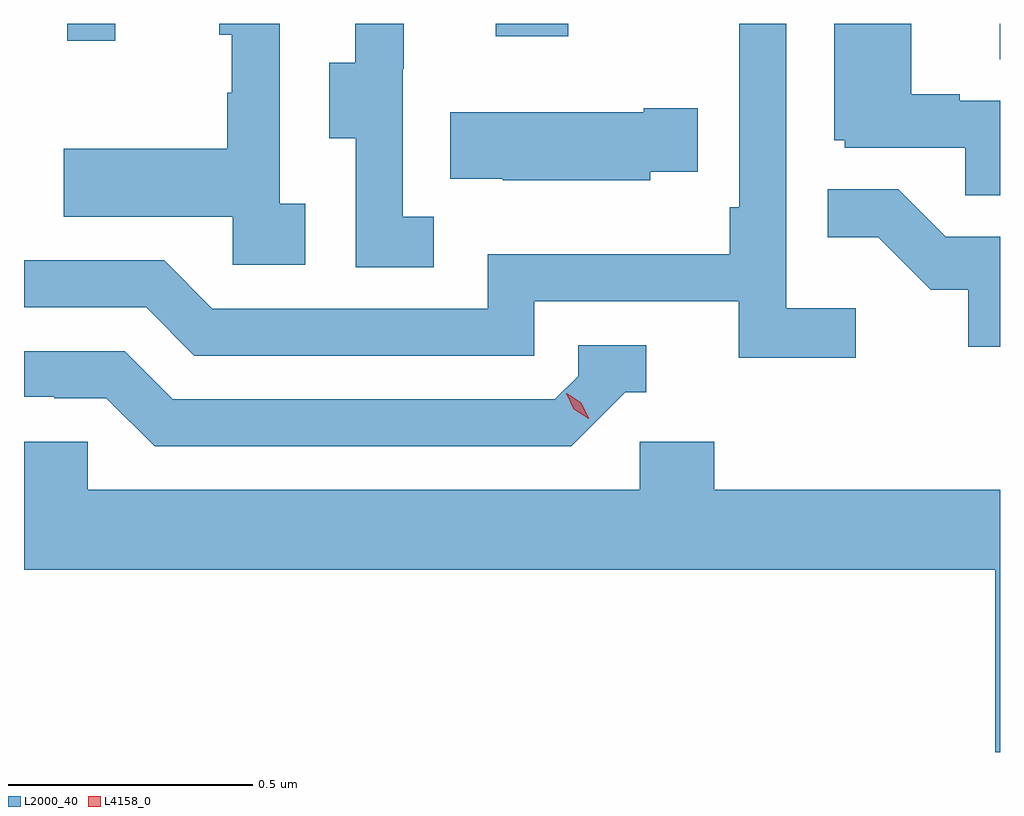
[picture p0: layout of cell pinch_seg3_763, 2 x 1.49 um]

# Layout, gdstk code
import gdstk
lib = gdstk.Library(unit=1e-6, precision=1e-09)
def R(c, l, rs):  # rectangles x0, y0, x1, y1
    for r in rs: c.add(gdstk.rectangle(r[:2], r[2:], *l))
def P(c, l, *ps):  # polygons
    for p in ps: c.add(gdstk.Polygon(p, *l))
L2000_40 = (2000, 40)
L4158_0 = (4158, 0)

pinch_seg3_763 = lib.new_cell('pinch_seg3_763')
R(pinch_seg3_763, L2000_40, [(848.333,733.93,848.334,734.003), (846.423,733.968,846.521,734.003), (847.301,733.977,847.449,734.003)])
P(pinch_seg3_763, L2000_40, [(848.038,733.42),(847.896,733.42),(847.896,734.003),(847.8,734.003),(847.8,733.627),(847.78,733.627),(847.78,733.531),(847.284,733.531),(847.284,733.419),(846.72,733.419),(846.621,733.518),(846.334,733.518),(846.334,733.422),(846.584,733.422),(846.683,733.323),(847.38,733.323),(847.38,733.434),(847.799,733.434),(847.799,733.318),(848.038,733.318)],
  [(848.334,733.845),(848.252,733.845),(848.252,733.858),(848.152,733.858),(848.152,734.003),(847.994,734.003),(847.994,733.764),(848.016,733.764),(848.016,733.749),(848.263,733.749),(848.263,733.651),(848.334,733.651)],
  [(846.91,733.634),(846.858,733.634),(846.858,734.003),(846.734,734.003),(846.734,733.98),(846.76,733.98),(846.76,733.862),(846.75,733.862),(846.75,733.747),(846.415,733.747),(846.415,733.607),(846.762,733.607),(846.762,733.509),(846.91,733.509)],
  [(847.174,733.607),(847.11,733.607),(847.11,733.911),(847.112,733.911),(847.112,734.003),(847.013,734.003),(847.013,733.923),(846.959,733.923),(846.959,733.768),(847.014,733.768),(847.014,733.504),(847.174,733.504)],
  [(847.617,733.7),(847.715,733.7),(847.715,733.83),(847.604,733.83),(847.604,733.822),(847.207,733.822),(847.207,733.685),(847.315,733.685),(847.315,733.682),(847.617,733.682)],
  [(848.334,733.566),(848.223,733.566),(848.125,733.664),(847.981,733.664),(847.981,733.565),(848.085,733.565),(848.192,733.458),(848.269,733.458),(848.269,733.341),(848.334,733.341)],
  [(847.566,733.248),(847.609,733.248),(847.609,733.344),(847.47,733.344),(847.47,733.281),(847.422,733.233),(846.639,733.233),(846.54,733.332),(846.334,733.332),(846.334,733.239),(846.396,733.239),(846.396,733.236),(846.503,733.236),(846.602,733.137),(847.455,733.137)],
  [(846.334,733.146),(846.334,732.884),(848.324,732.884),(848.324,732.51),(848.334,732.51),(848.334,733.048),(847.748,733.048),(847.748,733.146),(847.596,733.146),(847.596,733.048),(846.465,733.048),(846.465,733.146)])
P(pinch_seg3_763, L4158_0, [(847.491,733.193),(847.461,733.213),(847.445,733.246),(847.445,733.246),(847.446,733.246),(847.476,733.226),(847.491,733.194),(847.491,733.193)])

lib.write_gds('pinch_seg3_763.gds')
